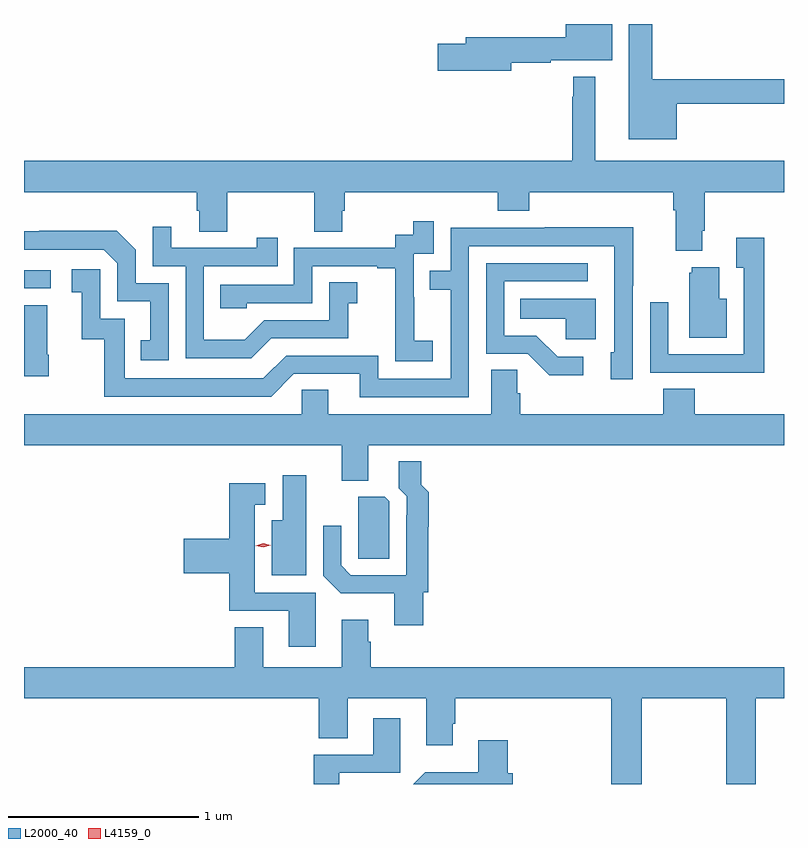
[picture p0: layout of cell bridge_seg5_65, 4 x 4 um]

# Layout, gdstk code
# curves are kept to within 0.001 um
import gdstk
lib = gdstk.Library(unit=1e-6, precision=1e-09)
def R(c, l, rs):  # rectangles x0, y0, x1, y1
    for r in rs: c.add(gdstk.rectangle(r[:2], r[2:], *l))
def P(c, l, *ps):  # polygons
    for p in ps: c.add(gdstk.Polygon(p, *l))
L2000_40 = (2000, 40)
L4159_0 = (4159, 0)

bridge_seg5_65 = lib.new_cell('bridge_seg5_65')
R(bridge_seg5_65, L2000_40, [(264.391,908.202,264.532,908.298)])
P(bridge_seg5_65, L2000_40, [(266.956,909.388),(267.164,909.388),(267.164,909.401),(267.487,909.401),(267.487,909.593),(267.242,909.593),(267.242,909.524),(266.717,909.524),(266.717,909.488),(266.568,909.488),(266.568,909.346),(266.956,909.346)],
  [(267.826,909.174),(268.391,909.174),(268.391,909.302),(267.697,909.302),(267.697,909.593),(267.575,909.593),(267.575,908.987),(267.826,908.987)],
  [(264.391,908.708),(265.301,908.708),(265.301,908.61),(265.313,908.61),(265.313,908.5),(265.461,908.5),(265.461,908.708),(265.918,908.708),(265.918,908.5),(266.065,908.5),(266.065,908.61),(266.078,908.61),(266.078,908.708),(266.885,908.708),(266.885,908.609),(267.05,908.609),(267.05,908.708),(267.809,908.708),(267.809,908.612),(267.821,908.612),(267.821,908.399),(267.961,908.399),(267.961,908.506),(267.974,908.506),(267.974,908.708),(268.391,908.708),(268.391,908.872),(267.397,908.872),(267.397,909.316),(267.282,909.316),(267.282,909.209),(267.276,909.209),(267.276,908.872),(264.391,908.872)],
  [(266.542,907.927),(266.444,907.927),(266.444,908.156),(266.442,908.156),(266.442,908.385),(266.547,908.385),(266.547,908.554),(266.439,908.554),(266.439,908.484),(266.346,908.484),(266.346,908.415),(265.812,908.415),(265.812,908.22),(265.423,908.22),(265.423,908.097),(265.563,908.097),(265.563,908.124),(265.908,908.124),(265.908,908.319),(266.249,908.319),(266.249,908.307),(266.345,908.307),(266.345,908.023),(266.344,908.023),(266.344,907.817),(266.542,907.817)],
  [(265.693,907.938),(266.097,907.938),(266.097,908.123),(266.146,908.123),(266.146,908.233),(265.998,908.233),(265.998,908.034),(265.656,908.034),(265.552,907.93),(265.338,907.93),(265.338,908.319),(265.727,908.319),(265.727,908.467),(265.616,908.467),(265.616,908.415),(265.165,908.415),(265.165,908.527),(265.068,908.527),(265.068,908.319),(265.242,908.319),(265.242,907.833),(265.588,907.833)],
  [(266.733,908.424),(267.497,908.424),(267.498,907.866),(267.479,907.866),(267.479,907.722),(267.594,907.722),(267.594,908.215),(267.597,908.215),(267.597,908.522),(267.133,908.522),(267.133,908.52),(266.637,908.52),(266.637,908.295),(266.527,908.295),(266.527,908.194),(266.637,908.194),(266.637,907.725),(266.256,907.725),(266.256,907.848),(265.77,907.848),(265.65,907.728),(264.921,907.728),(264.921,908.043),(264.792,908.043),(264.792,908.302),(264.642,908.302),(264.642,908.181),(264.695,908.181),(264.695,907.935),(264.813,907.935),(264.813,907.632),(265.692,907.632),(265.812,907.752),(266.159,907.752),(266.159,907.629),(266.733,907.629)],
  [(265.152,908.229),(264.978,908.229),(264.978,908.406),(264.88,908.504),(264.472,908.504),(264.472,908.502),(264.391,908.502),(264.391,908.406),(264.81,908.406),(264.882,908.334),(264.882,908.133),(265.055,908.133),(265.055,907.929),(265.006,907.929),(265.006,907.824),(265.152,907.824)],
  [(268.288,908.467),(268.139,908.467),(268.139,908.311),(268.179,908.311),(268.179,907.854),(267.783,907.854),(267.783,908.128),(267.687,908.128),(267.687,907.758),(268.003,907.758),(268.003,907.757),(268.288,907.757)],
  [(267.334,907.842),(267.199,907.842),(267.088,907.953),(266.919,907.953),(266.919,908.238),(267.358,908.238),(267.358,908.334),(266.823,908.334),(266.823,907.857),(267.042,907.857),(267.155,907.745),(267.334,907.745)],
  [(268.09,908.146),(268.051,908.146),(268.051,908.314),(267.905,908.314),(267.905,908.283),(267.893,908.283),(267.893,907.943),(268.09,907.943)],
  [(267.4,908.146),(267.004,908.146),(267.004,908.042),(267.243,908.042),(267.243,907.934),(267.4,907.934)],
  [(264.522,907.852),(264.514,907.852),(264.514,908.113),(264.391,908.113),(264.391,907.74),(264.522,907.74)],
  [(266.203,907.376),(268.391,907.376),(268.391,907.54),(267.92,907.54),(267.92,907.673),(267.755,907.673),(267.755,907.54),(267.002,907.54),(267.002,907.649),(266.988,907.649),(266.988,907.772),(266.849,907.772),(266.849,907.54),(265.993,907.54),(265.993,907.667),(265.854,907.667),(265.854,907.54),(264.391,907.54),(264.391,907.376),(266.063,907.376),(266.063,907.189),(266.203,907.189)],
  [(266.492,906.603),(266.519,906.603),(266.519,906.946),(266.522,906.946),(266.522,907.128),(266.483,907.167),(266.483,907.291),(266.363,907.291),(266.363,907.15),(266.406,907.107),(266.406,907.007),(266.403,907.007),(266.403,906.693),(266.112,906.693),(266.061,906.744),(266.061,906.952),(265.965,906.952),(265.965,906.69),(266.059,906.596),(266.339,906.596),(266.339,906.429),(266.492,906.429)],
  [(265.876,907.219),(265.754,907.219),(265.754,906.982),(265.694,906.982),(265.694,906.692),(265.876,906.692)],
  [(265.927,906.6),(265.606,906.6),(265.606,907.064),(265.66,907.064),(265.66,907.177),(265.472,907.177),(265.472,906.884),(265.233,906.884),(265.233,906.701),(265.472,906.701),(265.472,906.504),(265.784,906.504),(265.784,906.315),(265.927,906.315)],
  [(266.313,907.08),(266.289,907.104),(266.15,907.104),(266.15,906.889),(266.151,906.889),(266.151,906.778),(266.313,906.778)],
  [(267.642,906.044),(268.087,906.044),(268.087,905.593),(268.242,905.593),(268.242,906.044),(268.391,906.044),(268.391,906.208),(266.216,906.208),(266.216,906.341),(266.203,906.341),(266.203,906.457),(266.063,906.457),(266.063,906.208),(265.651,906.208),(265.651,906.419),(265.499,906.419),(265.499,906.208),(264.391,906.208),(264.391,906.044),(265.943,906.044),(265.943,905.833),(266.095,905.833),(266.095,906.044),(266.507,906.044),(266.507,905.796),(266.647,905.796),(266.647,905.911),(266.66,905.911),(266.66,906.044),(267.482,906.044),(267.482,905.593),(267.642,905.593)],
  [(266.05,905.652),(266.371,905.652),(266.371,905.938),(266.228,905.938),(266.228,905.748),(265.916,905.748),(265.916,905.593),(266.05,905.593)],
  [(266.963,905.649),(266.936,905.649),(266.936,905.824),(266.783,905.824),(266.783,905.656),(266.503,905.656),(266.44,905.593),(266.963,905.593)])
P(bridge_seg5_65, L4159_0, [(265.651,906.839),(265.612,906.848),(265.611,906.848),(265.612,906.848),(265.65,906.859),(265.69,906.85),(265.69,906.85),(265.69,906.85)])

lib.write_gds('bridge_seg5_65.gds')
